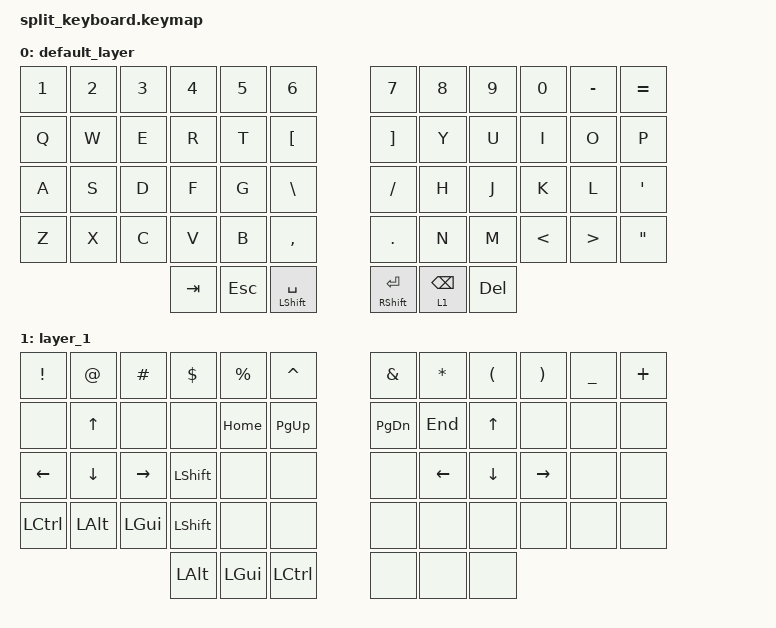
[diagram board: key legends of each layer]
// This file was generated from a template. Edit it to match your keyboard.
// See https://zmk.dev/docs/development/hardware-integration/new-shield for more instructions.

#include <behaviors.dtsi>
#include <dt-bindings/zmk/keys.h>
#include <dt-bindings/zmk/rgb.h>

/ {
    // Define a default keymap here.
    // See https://zmk.dev/docs/development/hardware-integration/new-shield#default-keymap.
    keymap {
        compatible = "zmk,keymap";

        default_layer {
            bindings = <
                &kp N1  &kp N2  &kp N3  &kp N4    &kp N5    &kp N6                  &kp N7              &kp N8      &kp N9  &kp N0  &kp MINUS   &kp EQUAL
                &kp Q   &kp W   &kp E   &kp R     &kp T     &kp LBKT                &kp RBKT            &kp Y       &kp U   &kp I   &kp O       &kp P 
                &kp A   &kp S   &kp D   &kp F     &kp G     &kp BSLH                &kp SLASH           &kp H       &kp J   &kp K   &kp L       &kp SQT
                &kp Z   &kp X   &kp C   &kp V     &kp B     &kp COMMA               &kp DOT             &kp N       &kp M   &kp LT  &kp GT      &kp DQT
                                        &kp TAB   &kp ESC   &mt LSHIFT SPACE        &mt RSHIFT ENTER    &lt 1 BSPC  &kp DEL
            >;
        };

        layer_1 {
            bindings = <
                &kp EXCL  &kp AT    &kp HASH  &kp DLLR  &kp PRCNT   &kp CARET      &kp AMPS  &kp STAR  &kp LPAR  &kp RPAR  &kp UNDERSCORE &kp PLUS
                &none     &kp UP    &none     &none     &kp HOME    &kp PG_UP      &kp PG_DN &kp END   &kp UP    &none     &none          &none   
                &kp LEFT  &kp DOWN  &kp RIGHT &kp LSHFT &none       &none          &none     &kp LEFT  &kp DOWN  &kp RIGHT &none          &none   
                &kp LCTRL &kp LALT  &kp LGUI  &kp LSHFT &none       &none          &none     &none     &none     &none     &none          &none   
                                              &kp LALT  &kp LGUI    &kp LCTRL      &none     &none     &none   
            >;
        };
    };
};
